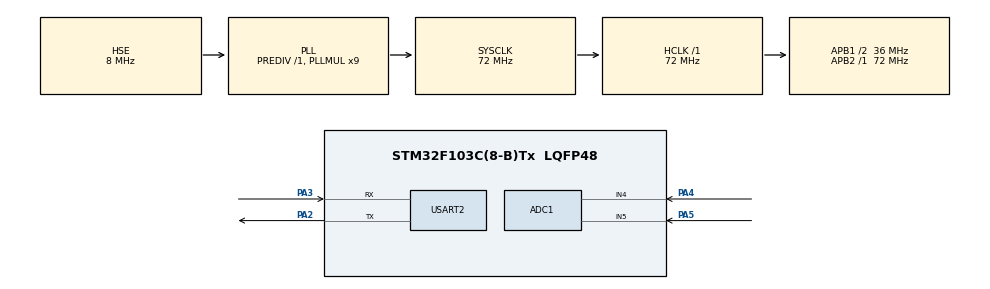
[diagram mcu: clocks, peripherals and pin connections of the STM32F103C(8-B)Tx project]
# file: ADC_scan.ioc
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ADC1.Channel-0\#ChannelRegularConversion=ADC_CHANNEL_5
ADC1.Channel-1\#ChannelRegularConversion=ADC_CHANNEL_4
ADC1.Channel-2\#ChannelRegularConversion=ADC_CHANNEL_TEMPSENSOR
ADC1.Channel-3\#ChannelRegularConversion=ADC_CHANNEL_VREFINT
ADC1.ContinuousConvMode=ENABLE
ADC1.NbrOfConversion=4
ADC1.NbrOfConversionFlag=1
ADC1.Rank-0\#ChannelRegularConversion=1
ADC1.Rank-1\#ChannelRegularConversion=2
ADC1.Rank-2\#ChannelRegularConversion=3
ADC1.Rank-3\#ChannelRegularConversion=4
ADC1.SamplingTime-0\#ChannelRegularConversion=ADC_SAMPLETIME_71CYCLES_5
ADC1.SamplingTime-1\#ChannelRegularConversion=ADC_SAMPLETIME_71CYCLES_5
ADC1.SamplingTime-2\#ChannelRegularConversion=ADC_SAMPLETIME_71CYCLES_5
ADC1.SamplingTime-3\#ChannelRegularConversion=ADC_SAMPLETIME_71CYCLES_5
ADC1.master=1
Dma.ADC1.0.Direction=DMA_PERIPH_TO_MEMORY
Dma.ADC1.0.Instance=DMA1_Channel1
Dma.ADC1.0.MemDataAlignment=DMA_MDATAALIGN_HALFWORD
Dma.ADC1.0.MemInc=DMA_MINC_ENABLE
Dma.ADC1.0.Mode=DMA_CIRCULAR
Dma.ADC1.0.PeriphDataAlignment=DMA_PDATAALIGN_HALFWORD
Dma.ADC1.0.PeriphInc=DMA_PINC_DISABLE
Dma.ADC1.0.Priority=DMA_PRIORITY_LOW
Dma.Request0=ADC1
Mcu.Family=STM32F1
Mcu.Name=STM32F103C(8-B)Tx
Mcu.Package=LQFP48
NVIC.DMA1_Channel1_IRQn=true\:0\:0\:false\:false\:true\:false\:true\:true
NVIC.PriorityGroup=NVIC_PRIORITYGROUP_4
PA13.Mode=Serial_Wire
PA13.Signal=SYS_JTMS-SWDIO
PA14.Mode=Serial_Wire
PA14.Signal=SYS_JTCK-SWCLK
PA2.Mode=Asynchronous
PA2.Signal=USART2_TX
PA3.Mode=Asynchronous
PA3.Signal=USART2_RX
PA4.Signal=ADCx_IN4
PA5.Signal=ADCx_IN5
PD0-OSC_IN.Mode=HSE-External-Oscillator
PD0-OSC_IN.Signal=RCC_OSC_IN
PD1-OSC_OUT.Mode=HSE-External-Oscillator
PD1-OSC_OUT.Signal=RCC_OSC_OUT
ProjectManager.HeapSize=0x200
ProjectManager.StackSize=0x400
ProjectManager.TargetToolchain=CMake
RCC.ADCPresc=RCC_ADCPCLK2_DIV6
RCC.AHBFreq_Value=72000000
RCC.APB1CLKDivider=RCC_HCLK_DIV2
RCC.APB1Freq_Value=36000000
RCC.APB1TimFreq_Value=72000000
RCC.APB2Freq_Value=72000000
RCC.APB2TimFreq_Value=72000000
RCC.HCLKFreq_Value=72000000
RCC.PLLMUL=RCC_PLL_MUL9
RCC.PLLSourceVirtual=RCC_PLLSOURCE_HSE
RCC.SYSCLKFreq_VALUE=72000000
RCC.SYSCLKSource=RCC_SYSCLKSOURCE_PLLCLK
RCC.USBFreq_Value=72000000
SH.ADCx_IN4.0=ADC1_IN4,IN4
SH.ADCx_IN5.0=ADC1_IN5,IN5
USART2.VirtualMode=VM_ASYNC
VP_ADC1_TempSens_Input.Mode=IN-TempSens
VP_ADC1_Vref_Input.Mode=IN-Vrefint
board=custom

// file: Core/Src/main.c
/* USER CODE BEGIN Header */
/**
  ******************************************************************************
  * @file           : main.c
  * @brief          : Main program body
  ******************************************************************************
  * @attention
  *
  * Copyright (c) 2026 STMicroelectronics.
  * All rights reserved.
  *
  * This software is licensed under terms that can be found in the LICENSE file
  * in the root directory of this software component.
  * If no LICENSE file comes with this software, it is provided AS-IS.
  *
  ******************************************************************************
  */
/* USER CODE END Header */
#include "main.h"
#include "adc.h"
#include "dma.h"
#include "usart.h"
#include "gpio.h"

/* USER CODE BEGIN Includes */
#include <stdio.h>
#include <string.h>
#include <math.h>
/* USER CODE END Includes */

void SystemClock_Config(void);

/* USER CODE BEGIN 0 */
  uint16_t values[4];
  char message[50] = "";

float ADC2Resistance(uint32_t adc_value) {
  return (adc_value / (4095.0f - adc_value)) * 10000.0f;
}

float resistance2Temperature(float R1) {
  float B = 3950.0f;
  float R2 = 10000.0f;
  float T2 = 25.0f;
  return (1.0 / ((1.0 / B) * log(R1 / R2) + (1.0 / (T2 + 273.15))) - 273.15);
}
// void HAL_ADC_ConvCpltCallback(ADC_HandleTypeDef* hadc) {
//   if (hadc == &hadc1) {
//     sprintf(message, "ADC Values: %d, %d, %d, %d\r\n", values[0], values[1], values[2], values[3]);
//     HAL_UART_Transmit(&huart2, (uint8_t*)message, strlen(message), HAL_MAX_DELAY);
//   }
// }
/* USER CODE END 0 */

int main(void)
{

  /* MCU Configuration--------------------------------------------------------*/

  /* Reset of all peripherals, Initializes the Flash interface and the Systick. */
  HAL_Init();

  /* Configure the system clock */
  SystemClock_Config();

  /* Initialize all configured peripherals */
  MX_GPIO_Init();
  MX_DMA_Init();
  MX_ADC1_Init();
  MX_USART2_UART_Init();
  /* USER CODE BEGIN 2 */
  HAL_ADCEx_Calibration_Start(&hadc1);
  HAL_ADC_Start_DMA(&hadc1, (uint32_t*)values, sizeof(values)/sizeof(uint16_t));

  float NTC_R = 0.0;
  float temperature = 0.0;

  /* USER CODE END 2 */

  /* Infinite loop */
  /* USER CODE BEGIN WHILE */
  while (1)
  {
    // sprintf(message, "ADC Values: %d, %d, %d, %d\r\n", values[0], values[1], values[2], values[3]);
    // HAL_UART_Transmit(&huart2, (uint8_t*)message, strlen(message), HAL_MAX_DELAY);
    HAL_Delay(1000);
    NTC_R = ADC2Resistance(values[1]);
    temperature = resistance2Temperature(NTC_R);
    sprintf(message, "阻值： %.2f Ω 温度: %.2f ℃", NTC_R, temperature);
    HAL_UART_Transmit(&huart2, (uint8_t*)message, strlen(message), HAL_MAX_DELAY);

    /* USER CODE END WHILE */

  }
}

void SystemClock_Config(void)
{
  RCC_OscInitTypeDef RCC_OscInitStruct = {0};
  RCC_ClkInitTypeDef RCC_ClkInitStruct = {0};
  RCC_PeriphCLKInitTypeDef PeriphClkInit = {0};

  /** Initializes the RCC Oscillators according to the specified parameters
  * in the RCC_OscInitTypeDef structure.
  */
  RCC_OscInitStruct.OscillatorType = RCC_OSCILLATORTYPE_HSE;
  RCC_OscInitStruct.HSEState = RCC_HSE_ON;
  RCC_OscInitStruct.HSEPredivValue = RCC_HSE_PREDIV_DIV1;
  RCC_OscInitStruct.HSIState = RCC_HSI_ON;
  RCC_OscInitStruct.PLL.PLLState = RCC_PLL_ON;
  RCC_OscInitStruct.PLL.PLLSource = RCC_PLLSOURCE_HSE;
  RCC_OscInitStruct.PLL.PLLMUL = RCC_PLL_MUL9;
  if (HAL_RCC_OscConfig(&RCC_OscInitStruct) != HAL_OK)
  {
    Error_Handler();
  }

  /** Initializes the CPU, AHB and APB buses clocks
  */
  RCC_ClkInitStruct.ClockType = RCC_CLOCKTYPE_HCLK|RCC_CLOCKTYPE_SYSCLK
                              |RCC_CLOCKTYPE_PCLK1|RCC_CLOCKTYPE_PCLK2;
  RCC_ClkInitStruct.SYSCLKSource = RCC_SYSCLKSOURCE_PLLCLK;
  RCC_ClkInitStruct.AHBCLKDivider = RCC_SYSCLK_DIV1;
  RCC_ClkInitStruct.APB1CLKDivider = RCC_HCLK_DIV2;
  RCC_ClkInitStruct.APB2CLKDivider = RCC_HCLK_DIV1;

  if (HAL_RCC_ClockConfig(&RCC_ClkInitStruct, FLASH_LATENCY_2) != HAL_OK)
  {
    Error_Handler();
  }
  PeriphClkInit.PeriphClockSelection = RCC_PERIPHCLK_ADC;
  PeriphClkInit.AdcClockSelection = RCC_ADCPCLK2_DIV6;
  if (HAL_RCCEx_PeriphCLKConfig(&PeriphClkInit) != HAL_OK)
  {
    Error_Handler();
  }
}

void Error_Handler(void)
{
  __disable_irq();
  while (1)
  {
  }
}
